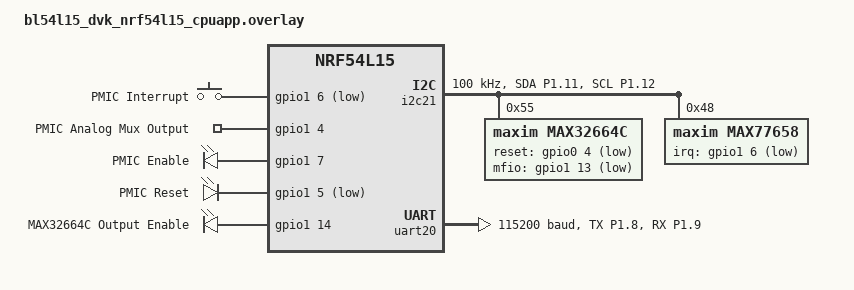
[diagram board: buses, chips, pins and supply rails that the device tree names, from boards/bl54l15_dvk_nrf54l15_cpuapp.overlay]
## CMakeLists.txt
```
# SPDX-License-Identifier: Apache-2.0

cmake_minimum_required(VERSION 3.20.0)

find_package(Zephyr REQUIRED HINTS $ENV{ZEPHYR_BASE})
project(pmic_2512_nrf54)

# Application sources
target_sources(app PRIVATE 
    src/main.c
    src/pmic_gpio.c
    src/data_manager.c
    src/storage_manager.c
    src/ble_app.c
    lib/max77658_main.c
    lib/max32664c_main.c
    lib/comman/app_i2c_lock.c
    driver/pmic/max77658.c
    driver/pmic/bsp.c
    # MAX32664C driver sources
    driver/max32664c/max32664c.c
    driver/max32664c/max32664c_acc.c
    driver/max32664c/max32664c_bl.c
    driver/max32664c/max32664c_init.c
    driver/max32664c/max32664c_worker.c
)

# Conditionally add MAX32664C interrupt support
if(CONFIG_MAX32664C_USE_INTERRUPT)
    target_sources(app PRIVATE driver/max32664c/max32664c_interrupt.c)
endif()

# Conditionally add PMIC module sources
if(CONFIG_PMIC_MAX77658_PM)
    target_sources(app PRIVATE driver/pmic/max77658_pm.c)
endif()

if(CONFIG_PMIC_MAX77658_FG)
    target_sources(app PRIVATE driver/pmic/max77658_fg.c)
endif()

# Include directories
target_include_directories(app PRIVATE
    ${CMAKE_CURRENT_SOURCE_DIR}/driver/pmic
    ${CMAKE_CURRENT_SOURCE_DIR}/driver/max32664c
    ${CMAKE_CURRENT_SOURCE_DIR}/src
    ${CMAKE_CURRENT_SOURCE_DIR}/lib
    ${CMAKE_CURRENT_SOURCE_DIR}/lib/comman
)
```

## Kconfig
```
# SPDX-License-Identifier: Apache-2.0

mainmenu "PMIC_2512 Application"

# Include driver Kconfig files
rsource "driver/pmic/Kconfig"
rsource "driver/max32664c/Kconfig"

source "Kconfig.zephyr"
```

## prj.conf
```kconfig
# =============================================================================
# Zephyr Project Configuration for MAX77658 PMIC Driver
# Target: nRF5340 / nRF52840
# =============================================================================

# -----------------------------------------------------------------------------
# Clock Configuration
# -----------------------------------------------------------------------------
# Use internal 32.768 kHz RC oscillator (LFRC) instead of external crystal (LFXO)
# This frees P0.00 (XL1) and P0.01 (XL2) for GPIO use
CONFIG_CLOCK_CONTROL_NRF_K32SRC_RC=y
CONFIG_CLOCK_CONTROL_NRF_K32SRC_RC_CALIBRATION=y

# -----------------------------------------------------------------------------
# C++ Support (if needed for driver library)
# -----------------------------------------------------------------------------
CONFIG_CPP=y
CONFIG_STD_CPP17=y
CONFIG_REQUIRES_FULL_LIBCPP=y
CONFIG_NEWLIB_LIBC=y

# -----------------------------------------------------------------------------
# I2C Configuration
# -----------------------------------------------------------------------------
CONFIG_I2C=y

# -----------------------------------------------------------------------------
# SPI Configuration (for other peripherals like MAX30001G ECG/BioZ AFE)
# -----------------------------------------------------------------------------
CONFIG_SPI=y

# -----------------------------------------------------------------------------
# GPIO Configuration
# -----------------------------------------------------------------------------
CONFIG_GPIO=y

# -----------------------------------------------------------------------------
# Serial / UART Console Configuration
# -----------------------------------------------------------------------------
CONFIG_SERIAL=y
CONFIG_CONSOLE=y
CONFIG_UART_CONSOLE=y

# -----------------------------------------------------------------------------
# Logging Configuration
# -----------------------------------------------------------------------------
CONFIG_LOG=y
CONFIG_LOG_MODE_DEFERRED=y

# Enable Debug Logging for I2C Subsystem
CONFIG_I2C_LOG_LEVEL_DBG=y

CONFIG_CLOCK_CONTROL_LOG_LEVEL_WRN=y

# 2. Keep Sensor logs enabled so you can see the data
CONFIG_SENSOR_LOG_LEVEL_INF=y

# 3. Reduce Kernel noise
CONFIG_LOG_DEFAULT_LEVEL=3
CONFIG_KERNEL_LOG_LEVEL_WRN=y

# Increase log buffer size to catch the flood of messages
CONFIG_LOG_BUFFER_SIZE=16384
CONFIG_LOG_PROCESS_THREAD_STACK_SIZE=4096

# -----------------------------------------------------------------------------
# Sensor Configuration
# -----------------------------------------------------------------------------
CONFIG_SENSOR=y
CONFIG_LOG_BACKEND_UART=y
CONFIG_PRINTK=y

# Enable floating point support for printf/LOG_INF
CONFIG_CBPRINTF_FP_SUPPORT=y

# -----------------------------------------------------------------------------
# PMIC MAX77658 Configuration
# -----------------------------------------------------------------------------
CONFIG_PMIC_MAX77658=y
CONFIG_PMIC_MAX77658_LOG_LEVEL=3
CONFIG_PMIC_MAX77658_PM=y
CONFIG_PMIC_MAX77658_FG=y

# Fuel Gauge Battery Configuration
CONFIG_PMIC_MAX77658_FG_DESIGN_CAP=350
CONFIG_PMIC_MAX77658_FG_RSENSE=10

# -----------------------------------------------------------------------------
# Memory Configuration
# -----------------------------------------------------------------------------
# Heap for dynamic allocation
CONFIG_HEAP_MEM_POOL_SIZE=16384

# Main stack size (increase if needed)
CONFIG_MAIN_STACK_SIZE=4096

# -----------------------------------------------------------------------------
# Debug Configuration (optional - disable for production)
# -----------------------------------------------------------------------------
# CONFIG_DEBUG=y
# CONFIG_DEBUG_OPTIMIZATIONS=y
# CONFIG_DEBUG_THREAD_INFO=y

CONFIG_MAX32664C_USE_EXTENDED_REPORTS=y

# ========================================
# Bluetooth Configuration (nRF54L15 Fixed)
# ========================================
CONFIG_BT=y
CONFIG_BT_PERIPHERAL=y
CONFIG_BT_DEVICE_NAME="Neso Monitor"
CONFIG_BT_MAX_CONN=1

# Use the Nordic SoftDevice Controller
CONFIG_BT_LL_SOFTDEVICE=y

# Increase L2CAP buffers (Host Layer) - This handles the large data packets
CONFIG_BT_BUF_ACL_RX_SIZE=251
CONFIG_BT_BUF_ACL_TX_SIZE=251
CONFIG_BT_L2CAP_TX_MTU=247

# Data Length Update (DLE) support is usually auto-enabled by SoftDevice
CONFIG_BT_DATA_LEN_UPDATE=y

# Disable features not needed right now to reduce complexity
CONFIG_BT_GATT_CLIENT=n
CONFIG_BT_SMP=n

# -----------------------------------------------------------------------------
# Non-Volatile Storage (NVS) Configuration
# -----------------------------------------------------------------------------
# Enable Flash and NVS for persistent data storage
CONFIG_FLASH=y
CONFIG_FLASH_PAGE_LAYOUT=y
CONFIG_NVS=y

# Settings subsystem for key-value storage
CONFIG_SETTINGS=y

# Allow writing to flash while running
CONFIG_MPU_ALLOW_FLASH_WRITE=y
```

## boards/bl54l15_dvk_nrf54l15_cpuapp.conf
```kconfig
# BL54L15 DVK Board Configuration

# Enable GPIO for PMIC control pins
CONFIG_GPIO=y
```

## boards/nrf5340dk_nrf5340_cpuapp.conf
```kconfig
# Enable GPIO for PMIC control pins
CONFIG_GPIO=y
```

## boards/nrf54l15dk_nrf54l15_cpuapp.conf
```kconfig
# nRF54L15DK Board Configuration

# Enable GPIO for PMIC control pins
CONFIG_GPIO=y
```

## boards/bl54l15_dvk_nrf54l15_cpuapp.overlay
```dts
/*
 * BL54L15 DVK overlay for MAX77658 PMIC and MAX32664C Sensor Hub
 *
 * Hardware Wiring:
 *   SDA: P1.11
 *   SCL: P1.12
 *
 * MAX32664C Sensor Hub Pins:
 *   HUB_MFIO: P1.13
 *   HUB_RST:  P0.04
 *   OE:       P1.14
 *
 * PMIC GPIO Pins:
 *   PMIC_NEN:  P1.07
 *   PMIC_nIRQ: P1.06
 *   PMIC_nRST: P1.05
 *
 * UART Pins:
 *   TX: P1.08
 *   RX: P1.09
 */
&pinctrl {
    /* I2C21 pins */
    i2c21_default: i2c21_default {
        group1 {
            /* YOUR CUSTOM WIRING */
            psels = <NRF_PSEL(TWIM_SDA, 1, 11)>,  /* SDA = P1.11 */
                    <NRF_PSEL(TWIM_SCL, 1, 12)>;  /* SCL = P1.12 */
            bias-pull-up;
        };
    };

    i2c21_sleep: i2c21_sleep {
        group1 {
            psels = <NRF_PSEL(TWIM_SDA, 1, 11)>,
                    <NRF_PSEL(TWIM_SCL, 1, 12)>;
            low-power-enable;
        };
    };

    /* UART configured for external FTDI on P1.08/09 */
    uart20_default: uart20_default {
        group1 {
            psels = <NRF_PSEL(UART_TX, 1, 8)>;   /* P1.08 = TX */
        };
        group2 {
            psels = <NRF_PSEL(UART_RX, 1, 9)>;   /* P1.09 = RX */
            bias-pull-up;
        };
    };

    uart20_sleep: uart20_sleep {
        group1 {
            psels = <NRF_PSEL(UART_TX, 1, 8)>,   /* P1.08 = TX */
                    <NRF_PSEL(UART_RX, 1, 9)>;   /* P1.09 = RX */
            low-power-enable;
        };
    };
};

/* Configure I2C21 with custom pins (nRF54L15 uses i2c21) */
&i2c21 {
    status = "okay";
    pinctrl-0 = <&i2c21_default>;
    pinctrl-1 = <&i2c21_sleep>;
    pinctrl-names = "default", "sleep";
    clock-frequency = <I2C_BITRATE_STANDARD>;  /* 100kHz, can use I2C_BITRATE_FAST for 400kHz */

    /* MAX32664C Biometric Sensor Hub */
    max32664c: max32664c@55 {
        compatible = "maxim,max32664c";
        reg = <0x55>;
        
        /* GPIO Control */
        reset-gpios = <&gpio0 4 GPIO_ACTIVE_LOW>;
        mfio-gpios  = <&gpio1 13 (GPIO_ACTIVE_LOW | GPIO_OPEN_DRAIN | GPIO_PULL_UP)>;
        
        /* Configuration */
        spo2-calib = <1748 6062 10754>;
        hr-config = <4 1>;
        spo2-config = <4 1>;
        use-max86174;
        motion-time = <5000>;
        motion-threshold = <100>;
        min-integration-time = "58_7us";
        min-sampling-rate = "25sps_avg1";
        max-integration-time = "117_3us";
        max-sampling-rate = "400sps_avg16";
        report-period = <40>;
        led-current = <50 50 50 50>;
    };

    /* MAX77658 PMIC Node (Required for driver communication) */
    max77658: max77658@48 {
        compatible = "maxim,max77658"; 
        reg = <0x48>; 
        irq-gpios = <&gpio1 6 (GPIO_PULL_UP | GPIO_ACTIVE_LOW)>;
    };
};

/* Configure UART20 for debug console (115200 baud) */
&uart20 {
    status = "okay";
    current-speed = <115200>;
    pinctrl-0 = <&uart20_default>;
    pinctrl-1 = <&uart20_sleep>;
    pinctrl-names = "default", "sleep";
};

&nfct {
    status = "disabled";
};

/* GPIO definitions for Manual Control / Aliases */
/ {
    chosen {
        zephyr,code-partition = &slot0_partition;
    };

    /* PMIC GPIO definitions */
    pmic_gpios {
        compatible = "gpio-keys";
        
        pmic_nirq: pmic_nirq {
            gpios = <&gpio1 6 (GPIO_PULL_UP | GPIO_ACTIVE_LOW)>;
            label = "PMIC Interrupt";
        };
        
        pmic_amux: pmic_amux {
            gpios = <&gpio1 4 GPIO_ACTIVE_HIGH>;
            label = "PMIC Analog Mux Output";
        };
    };
    
    pmic_ctrl {
        compatible = "gpio-leds";
        
        pmic_nen: pmic_nen {
            gpios = <&gpio1 7 GPIO_ACTIVE_HIGH>;
            label = "PMIC Enable";
        };
        
        pmic_nrst: pmic_nrst {
            gpios = <&gpio1 5 GPIO_ACTIVE_LOW>;
            label = "PMIC Reset";
        };
        
        hub_oe: hub_oe {
            gpios = <&gpio1 14 GPIO_ACTIVE_HIGH>;
            label = "MAX32664C Output Enable";
        };
    };
    
    aliases {
        /* PMIC aliases */
        pmic-nen = &pmic_nen;
        pmic-irq = &pmic_nirq;
        pmic-rst = &pmic_nrst;
        pmic-amux = &pmic_amux;
        
        /* MAX32664C aliases */
        hub-oe = &hub_oe;
    };
};

/* Flash Partitions for Data Storage (nRF54L15 RRAM) */
&cpuapp_rram {
    /* CRITICAL: Delete the default board partitions to avoid conflicts */
    /delete-node/ partitions;

    partitions {
        compatible = "fixed-partitions";
        #address-cells = <1>;
        #size-cells = <1>;

        /* Bootloader partition (64KB) */
        boot_partition: partition@0 {
            label = "mcuboot";
            reg = <0x00000000 0x00010000>;
        };

        /* Application slot 0 (448KB) */
        slot0_partition: partition@10000 {
            label = "image-0";
            reg = <0x00010000 0x00070000>;
        };

        /* Application slot 1 (448KB) */
        slot1_partition: partition@80000 {
            label = "image-1";
            reg = <0x00080000 0x00070000>;
        };

        /* Storage partition for persistent data (32KB) */
        storage_partition: partition@F0000 {
            label = "storage";
            reg = <0x000F0000 0x00008000>;
        };

        /* Scratch partition for MCUboot swap (32KB) */
        scratch_partition: partition@F8000 {
            label = "image-scratch";
            reg = <0x000F8000 0x00008000>;
        };
    };
};
```

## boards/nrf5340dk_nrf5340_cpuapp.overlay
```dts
/*
 * nRF5340DK overlay for MAX77658 PMIC
 *
 * I2C Pins:
 *   SDA: P1.11
 *   SCL: P1.12
 *
 * GPIO Pins:
 *   PMIC_nRST: P1.13 (Active Low Reset)
 *   PMIC_nIRQ: P0.30 (Active Low Interrupt)
 *
 * UART Pins (Debug Console):
 *   TX: P0.09 (Output)
 *   RX: P0.08 (Input)
 */

/* Custom pin control for I2C1 and UART0 */
&pinctrl {
    /* I2C1 pins */
    i2c1_default: i2c1_default {
        group1 {
            psels = <NRF_PSEL(TWIM_SDA, 1, 11)>,  /* P1.11 = SDA */
                    <NRF_PSEL(TWIM_SCL, 1, 12)>;  /* P1.12 = SCL */
        };
    };

    i2c1_sleep: i2c1_sleep {
        group1 {
            psels = <NRF_PSEL(TWIM_SDA, 1, 11)>,  /* P1.11 = SDA */
                    <NRF_PSEL(TWIM_SCL, 1, 12)>;  /* P1.12 = SCL */
            low-power-enable;
        };
    };

    /* UART0 pins for debug console */
    uart0_default: uart0_default {
        group1 {
            psels = <NRF_PSEL(UART_TX, 0, 9)>;   /* P0.09 = TX */
        };
        group2 {
            psels = <NRF_PSEL(UART_RX, 0, 8)>;   /* P0.08 = RX */
            bias-pull-up;
        };
    };

    uart0_sleep: uart0_sleep {
        group1 {
            psels = <NRF_PSEL(UART_TX, 0, 9)>,   /* P0.09 = TX */
                    <NRF_PSEL(UART_RX, 0, 8)>;   /* P0.08 = RX */
            low-power-enable;
        };
    };
};

/* Configure I2C1 with custom pins */
&i2c1 {
    status = "okay";
    pinctrl-0 = <&i2c1_default>;
    pinctrl-1 = <&i2c1_sleep>;
    pinctrl-names = "default", "sleep";
    clock-frequency = <I2C_BITRATE_STANDARD>;  /* 100kHz, can use I2C_BITRATE_FAST for 400kHz */
};

/* Configure UART0 for debug console (115200 baud) */
&uart0 {
    status = "okay";
    current-speed = <115200>;
    pinctrl-0 = <&uart0_default>;
    pinctrl-1 = <&uart0_sleep>;
    pinctrl-names = "default", "sleep";
};

/* PMIC GPIO definitions (optional - for future use) */
/ {
    pmic_gpios {
        compatible = "gpio-keys";
        
        pmic_nirq: pmic_nirq {
            gpios = <&gpio0 30 (GPIO_PULL_UP | GPIO_ACTIVE_LOW)>;
            label = "PMIC Interrupt";
        };
    };
    
    pmic_ctrl {
        compatible = "gpio-leds";
        
        pmic_nrst: pmic_nrst {
            gpios = <&gpio1 13 GPIO_ACTIVE_LOW>;
            label = "PMIC Reset";
        };
    };
    
    aliases {
        pmic-irq = &pmic_nirq;
        pmic-rst = &pmic_nrst;
    };
};
```

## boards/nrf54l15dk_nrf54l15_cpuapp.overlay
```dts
/*
 * nRF54L15DK overlay for MAX77658 PMIC and MAX32664C Sensor Hub
 *
 * I2C Pins:
 *   SDA: P1.11
 *   SCL: P1.12
 *
 * MAX32664C Sensor Hub Pins:
 *   HUB_MFIO: P1.13 (Active Low, Open-Drain)
 *   HUB_RST:  P0.04 (Active Low Reset)
 *   OE:       P1.14 (Output Enable)
 *
 * PMIC GPIO Pins:
 *   PMIC_NEN:      P1.07 (Enable, Active High)
 *   PMIC_nIRQ:     P1.06 (Active Low Interrupt)
 *   PMIC_nRST:     P1.05 (Active Low Reset)
 *   PMIC_AMUX_OUT: P1.04 (Analog Mux Output)
 *
 * UART Pins (Debug Console):
 *   TX: P1.03 (Output)
 *   RX: P1.02 (Input)
 */

/* Custom pin control for I2C21 and UART20 */
&pinctrl {
    /* I2C21 pins */
    i2c21_default: i2c21_default {
        group1 {
            psels = <NRF_PSEL(TWIM_SDA, 1, 11)>,  /* P1.11 = SDA */
                    <NRF_PSEL(TWIM_SCL, 1, 12)>;  /* P1.12 = SCL */
        };
    };

    i2c21_sleep: i2c21_sleep {
        group1 {
            psels = <NRF_PSEL(TWIM_SDA, 1, 11)>,  /* P1.11 = SDA */
                    <NRF_PSEL(TWIM_SCL, 1, 12)>;  /* P1.12 = SCL */
            low-power-enable;
        };
    };

    /* UART20 pins for debug console */
    uart20_default: uart20_default {
        group1 {
            psels = <NRF_PSEL(UART_TX, 1, 3)>;   /* P1.03 = TX */
        };
        group2 {
            psels = <NRF_PSEL(UART_RX, 1, 2)>;   /* P1.02 = RX */
            bias-pull-up;
        };
    };

    uart20_sleep: uart20_sleep {
        group1 {
            psels = <NRF_PSEL(UART_TX, 1, 3)>,   /* P1.03 = TX */
                    <NRF_PSEL(UART_RX, 1, 2)>;   /* P1.02 = RX */
            low-power-enable;
        };
    };
};

/* Configure I2C21 with custom pins (nRF54L15 uses i2c21) */
&i2c21 {
    status = "okay";
    pinctrl-0 = <&i2c21_default>;
    pinctrl-1 = <&i2c21_sleep>;
    pinctrl-names = "default", "sleep";
    clock-frequency = <I2C_BITRATE_STANDARD>;  /* 100kHz, can use I2C_BITRATE_FAST for 400kHz */

    /* MAX32664C Biometric Sensor Hub */
    max32664c: max32664c@55 {
        compatible = "maxim,max32664c";
        reg = <0x55>;
        
        /* Reset pin - Active Low */
        reset-gpios = <&gpio0 4 GPIO_ACTIVE_LOW>;   /* P0.04 - HUB_RST */

        /* MFIO: Open-drain output with pull-up for interrupt/wake capability */
        mfio-gpios  = <&gpio1 13 (GPIO_ACTIVE_LOW | GPIO_OPEN_DRAIN | GPIO_PULL_UP)>;   /* P1.13 - HUB_MFIO */
        
        /* SpO2 calibration coefficients [A, B, C] for equation: SpO2 = A*R^2 + B*R + C */
        spo2-calib = <1748 6062 10754>;  /* Positive integer values */
        
        /* HR and SpO2 algorithm configuration [avg, sensitivity] */
        hr-config = <4 1>;    /* 4-beat average, sensitivity level 1 */
        spo2-config = <4 1>;  /* 4-sample average, sensitivity level 1 */
        
        /* AFE selection flags */
        use-max86174;
        
        /* Wake-on-motion parameters */
        motion-time = <5000>;      /* 5 seconds motion timeout in ms */
        motion-threshold = <100>;  /* 100 milli-g threshold */
        
        /* Integration time and sampling rate constraints (enum indices) */
        min-integration-time = "58_7us";      /* FW35 code 2: 58.7µs */
        min-sampling-rate = "25sps_avg1";    /* FW35 code 0: 25sps, avg=1 */
        max-integration-time = "117_3us";    /* FW35 code 3: 117.3µs */
        max-sampling-rate = "400sps_avg16";  /* FW35 code 4: 400sps, avg=16 */
        
        /* Reporting configuration */
        report-period = <40>;  /* Report every 40 samples (1.6s at 25Hz) */
        
        /* LED current settings [LED1, LED2, LED3, LED4] in mA */
        led-current = <50 50 50 50>;
        
        status = "okay";
    };
};

/* Configure UART20 for debug console (115200 baud) */
&uart20 {
    status = "okay";
    current-speed = <115200>;
    pinctrl-0 = <&uart20_default>;
    pinctrl-1 = <&uart20_sleep>;
    pinctrl-names = "default", "sleep";
};

/* GPIO definitions for MAX32664C and PMIC control */
/ {
    /* MAX32664C control pins */
    max32664c_gpios {
        compatible = "gpio-keys";
        
        hub_oe: hub_oe {
            gpios = <&gpio1 14 GPIO_ACTIVE_HIGH>;
            label = "MAX32664C Output Enable";
        };
    };
    
    /* PMIC GPIO definitions */
    pmic_gpios {
        compatible = "gpio-keys";
        
        pmic_nirq: pmic_nirq {
            gpios = <&gpio1 6 (GPIO_PULL_UP | GPIO_ACTIVE_LOW)>;
            label = "PMIC Interrupt";
        };
        
        pmic_amux: pmic_amux {
            gpios = <&gpio1 4 GPIO_ACTIVE_HIGH>;
            label = "PMIC Analog Mux Output";
        };
    };
    
    pmic_ctrl {
        compatible = "gpio-leds";
        
        pmic_nen: pmic_nen {
            gpios = <&gpio1 7 GPIO_ACTIVE_HIGH>;
            label = "PMIC Enable";
        };
        
        pmic_nrst: pmic_nrst {
            gpios = <&gpio1 5 GPIO_ACTIVE_LOW>;
            label = "PMIC Reset";
        };
    };
    
    aliases {
        /* MAX32664C aliases */
        hub-oe = &hub_oe;
        
        /* PMIC aliases */
        pmic-nen = &pmic_nen;
        pmic-irq = &pmic_nirq;
        pmic-rst = &pmic_nrst;
        pmic-amux = &pmic_amux;
    };
};
```

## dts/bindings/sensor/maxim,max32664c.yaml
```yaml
# dts/bindings/sensor/maxim,max32664c.yaml
description: Maxim MAX32664C Biometric Sensor Hub

compatible: "maxim,max32664c"

include: i2c-device.yaml

properties:
  reset-gpios:
    type: phandle-array
    required: true
    description: Reset pin (set polarity via GPIO_ACTIVE_LOW/HIGH)

  mfio-gpios:
    type: phandle-array
    required: true
    description: MFIO pin for Wake/Sleep

  spo2-calib:
    type: array
    required: true
    description: SpO2 calibration coefficients [A, B, C]

  hr-config:
    type: array
    required: true
    description: Heart Rate algo config [avg, sensitivity]

  spo2-config:
    type: array
    required: true
    description: SpO2 algo config [avg, sensitivity]

  use-max86141:
    type: boolean
    description: Set if using MAX86141 AFE

  use-max86161:
    type: boolean
    description: Set if using MAX86161 AFE

  use-max86174:
    type: boolean
    description: Set if using MAX86174 AFE

  motion-time:
    type: int
    required: false
    default: 5000
    description: Wake on motion time threshold in ms

  motion-threshold:
    type: int
    required: false
    default: 100
    description: Wake on motion threshold in mg

  min-integration-time:
    type: string
    required: false
    enum: ["14_8us", "29_4us", "58_7us", "117_3us"]  # FW35 codes 0-3

  min-sampling-rate:
    type: string
    required: false
    enum: ["25sps_avg1", "50sps_avg2", "100sps_avg4", "200sps_avg8", "400sps_avg16"]  # FW35 codes 0-4

  max-integration-time:
    type: string
    required: false
    enum: ["14_8us", "29_4us", "58_7us", "117_3us"]  # FW35 codes 0-3

  max-sampling-rate:
    type: string
    required: false
    enum: ["25sps_avg1", "50sps_avg2", "100sps_avg4", "200sps_avg8", "400sps_avg16"]  # FW35 codes 0-4

  report-period:
    type: int
    required: false
    default: 1
    description: Number of samples per report

  led-current:
    type: array
    required: true
    description: LED currents in mA. Provide 3 entries for MAX86141/MAX86161, or 4 entries for MAX86174 (LED1..LED4).
```

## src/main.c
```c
/*
 * main.c - Application Entry Point
 */

#include <zephyr/kernel.h>
#include <zephyr/logging/log.h>
#include <zephyr/device.h>
#include <zephyr/drivers/i2c.h>

/* Application Libraries */
#include "max77658_main.h"
#include "max32664c_main.h"
#include "app_i2c_lock.h"

/* BLE Store-and-Forward Thread */
void start_ble_thread(void);
K_THREAD_DEFINE(ble_thread_id, 4096, start_ble_thread, NULL, NULL, NULL, 7, 0, 0);

LOG_MODULE_REGISTER(main, CONFIG_LOG_DEFAULT_LEVEL);

/* I2C Device */
#define I2C_NODE DT_NODELABEL(i2c21)
static const struct device *i2c_dev = DEVICE_DT_GET(I2C_NODE);

/* I2C Scanner Function */
static void i2c_scan(void)
{
    uint8_t addr;
    uint8_t cnt = 0;

    LOG_INF("--- I2C Bus Scan ---");
    
    if (!device_is_ready(i2c_dev)) {
        LOG_ERR("I2C device not ready!");
        return;
    }

    k_mutex_lock(&i2c_lock, K_FOREVER);

    for (addr = 0x03; addr <= 0x77; addr++) {
        struct i2c_msg msgs[1];
        uint8_t dst;

        msgs[0].buf = &dst;
        msgs[0].len = 0;
        msgs[0].flags = I2C_MSG_WRITE | I2C_MSG_STOP;

        if (i2c_transfer(i2c_dev, &msgs[0], 1, addr) == 0) {
            LOG_INF("Device found at 0x%02X", addr);
            cnt++;
        }
    }

    k_mutex_unlock(&i2c_lock);
    
    LOG_INF("Found %d device(s) on I2C bus", cnt);
}

int main(void)
{
    int ret;
    
    LOG_INF("--- System Startup ---");

    /* 1. Initialize PMIC Hardware (Protected) */
    LOG_INF("Initializing PMIC...");
    k_mutex_lock(&i2c_lock, K_FOREVER);
    ret = max77658_app_init();
    k_mutex_unlock(&i2c_lock);
    
    if (ret != 0) {
        LOG_ERR("MAX77658 Init Failed! Halting.");
        while (1) { k_msleep(1000); }
    }

    /* 2. Start Application Threads */
    /* The internal driver init for max32664c is handled by the sensor thread */
    LOG_INF("Starting Application Threads...");
    max77658_app_start();    /* Starts PMIC thread (Priority 7, 2000ms polling) */
    max32664c_app_start();   /* Starts Sensor thread (Priority 5, 40ms polling) */

    /* 3. Main thread runs I2C scanner in loop */
    LOG_INF("Main thread starting I2C scanner loop.");
    while (1) {
        k_sleep(K_SECONDS(5));

        if (max77658_shutdown_requested()) {
            LOG_WRN("Shutdown requested; skipping I2C scan.");
            continue;
        }

        i2c_scan();
    }

    return 0;
}
```

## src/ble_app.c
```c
#include <zephyr/types.h>
#include <stddef.h>
#include <string.h>
#include <errno.h>
#include <zephyr/sys/printk.h>
#include <zephyr/sys/byteorder.h>
#include <zephyr/kernel.h>
#include <zephyr/logging/log.h>
#include <zephyr/bluetooth/bluetooth.h>
#include <zephyr/bluetooth/hci.h>
#include <zephyr/bluetooth/conn.h>
#include <zephyr/bluetooth/uuid.h>
#include <zephyr/bluetooth/gatt.h>

#include "data_manager.h"
#include "storage_manager.h"

LOG_MODULE_REGISTER(ble_app, LOG_LEVEL_INF);

/* 1. Define Service and Characteristic UUIDs */
static struct bt_uuid_128 hope_svc_uuid = BT_UUID_INIT_128(
    BT_UUID_128_ENCODE(0x12345678, 0x1234, 0x5678, 0x1234, 0x56789abcdef0));

static struct bt_uuid_128 hope_data_uuid = BT_UUID_INIT_128(
    BT_UUID_128_ENCODE(0x12345678, 0x1234, 0x5678, 0x1234, 0x56789abcdef1));

static struct bt_uuid_128 char_profile_uuid = BT_UUID_INIT_128(
    BT_UUID_128_ENCODE(0x12345678, 0x1234, 0x5678, 0x1234, 0x56789abcdef5));

static struct bt_uuid_128 char_config_uuid = BT_UUID_INIT_128(
    BT_UUID_128_ENCODE(0x12345678, 0x1234, 0x5678, 0x1234, 0x56789abcdef6));

static struct bt_uuid_128 char_info_uuid = BT_UUID_INIT_128(
    BT_UUID_128_ENCODE(0x12345678, 0x1234, 0x5678, 0x1234, 0x56789abcdef7));

/* Characteristic #5: User Profile (5 Bytes) */
typedef struct __attribute__((packed)) {
    uint8_t age;          /* Years */
    uint8_t height_cm;    /* cm (0-255) */
    uint16_t weight_dg;   /* Weight in decigrams (kg * 10) e.g., 75.5kg -> 755 */
    uint8_t gender;       /* 0=Male, 1=Female, 2=Other */
} user_profile_t;

/* Characteristic #6: Device Config (4 Bytes) */
typedef struct __attribute__((packed)) {
    uint8_t op_mode;      /* 0=Continuous, 1=Periodic */
    uint16_t interval_s;  /* Sampling interval in seconds (30, 60, 300...) */
    uint8_t led_current;  /* LED brightness (0-255) */
} device_config_t;

/* Default Values */
static user_profile_t current_profile = { 0, 0, 0, 0 };
static device_config_t current_config = { 0, 0, 50 }; /* Continuous, 0s, 50mA */

static bool notify_enabled = false;

/* 2. Notification Enabled Callback */
static void ccc_cfg_changed(const struct bt_gatt_attr *attr, uint16_t value)
{
    notify_enabled = (value == BT_GATT_CCC_NOTIFY);
    LOG_INF("BLE Notifications: %s", notify_enabled ? "ON" : "OFF");
}

/* --- Callback for User Profile (Char #5) --- */
static ssize_t read_profile(struct bt_conn *conn, const struct bt_gatt_attr *attr,
                            void *buf, uint16_t len, uint16_t offset)
{
    return bt_gatt_attr_read(conn, attr, buf, len, offset, &current_profile, sizeof(current_profile));
}

static ssize_t write_profile(struct bt_conn *conn, const struct bt_gatt_attr *attr,
                             const void *buf, uint16_t len, uint16_t offset, uint8_t flags)
{
    if (len != sizeof(user_profile_t)) { return BT_GATT_ERR(BT_ATT_ERR_INVALID_ATTRIBUTE_LEN); }
    
    memcpy(&current_profile, buf, len);
    LOG_INF("User Updated: Age=%d, Wt=%d", current_profile.age, current_profile.weight_dg);
    
    /* TODO: Save 'current_profile' to NVS/Flash here */
    return len;
}

/* --- Callback for Device Config (Char #6) --- */
static ssize_t read_config(struct bt_conn *conn, const struct bt_gatt_attr *attr,
                           void *buf, uint16_t len, uint16_t offset)
{
    return bt_gatt_attr_read(conn, attr, buf, len, offset, &current_config, sizeof(current_config));
}

static ssize_t write_config(struct bt_conn *conn, const struct bt_gatt_attr *attr,
                            const void *buf, uint16_t len, uint16_t offset, uint8_t flags)
{
    if (len != sizeof(device_config_t)) { return BT_GATT_ERR(BT_ATT_ERR_INVALID_ATTRIBUTE_LEN); }
    
    memcpy(&current_config, buf, len);
    LOG_INF("Config Updated: Mode=%d, Interval=%ds", current_config.op_mode, current_config.interval_s);
    
    /* Apply logic immediately */
    if (current_config.op_mode == 1) {
        LOG_INF("Switching to Periodic Mode (%d sec)", current_config.interval_s);
        /* Call a function in data_manager.c to set sampling rate */
    } else {
        LOG_INF("Switching to Continuous Mode");
    }

    /* TODO: Save 'current_config' to NVS/Flash here */
    return len;
}

/* 3. Define GATT Service */
BT_GATT_SERVICE_DEFINE(hope_svc,
    BT_GATT_PRIMARY_SERVICE(&hope_svc_uuid),
    
    /* 1. Vitals Data (Notify) */
    BT_GATT_CHARACTERISTIC(&hope_data_uuid.uuid, BT_GATT_CHRC_NOTIFY, BT_GATT_PERM_NONE, NULL, NULL, NULL),
    BT_GATT_CCC(ccc_cfg_changed, BT_GATT_PERM_READ | BT_GATT_PERM_WRITE),

    /* 5. User Profile (Read/Write) */
    BT_GATT_CHARACTERISTIC(&char_profile_uuid.uuid, 
                           BT_GATT_CHRC_READ | BT_GATT_CHRC_WRITE, 
                           BT_GATT_PERM_READ | BT_GATT_PERM_WRITE, 
                           read_profile, write_profile, NULL),

    /* 6. Device Config (Read/Write) */
    BT_GATT_CHARACTERISTIC(&char_config_uuid.uuid, 
                           BT_GATT_CHRC_READ | BT_GATT_CHRC_WRITE, 
                           BT_GATT_PERM_READ | BT_GATT_PERM_WRITE, 
                           read_config, write_config, NULL),
                           
    /* 7. Device Info (Read Only) */
    BT_GATT_CHARACTERISTIC(&char_info_uuid.uuid, 
                           BT_GATT_CHRC_READ | BT_GATT_CHRC_NOTIFY, 
                           BT_GATT_PERM_READ, 
                           NULL, NULL, NULL),
    BT_GATT_CCC(ccc_cfg_changed, BT_GATT_PERM_READ | BT_GATT_PERM_WRITE),
);

/* 4. Advertisement Data */
static const struct bt_data ad[] = {
    BT_DATA_BYTES(BT_DATA_FLAGS, (BT_LE_AD_GENERAL | BT_LE_AD_NO_BREDR)),
    BT_DATA(BT_DATA_NAME_COMPLETE, "Neso Monitor", 12),
};

static const struct bt_data sd[] = {
    BT_DATA_BYTES(BT_DATA_UUID128_ALL,
                  0xf0, 0xde, 0xbc, 0x9a, 0x78, 0x56, 0x34, 0x12,
                  0x78, 0x56, 0x34, 0x12, 0x78, 0x56, 0x34, 0x12),
};

static void bt_ready(int err)
{
    if (err) { LOG_ERR("BLE init failed (err %d)", err); return; }
    
    /* Pass 'sd' (Scan Response) as 4th and 5th arguments */
    err = bt_le_adv_start(BT_LE_ADV_CONN, ad, ARRAY_SIZE(ad), sd, ARRAY_SIZE(sd));
    
    if (err) {
        LOG_ERR("Advertising failed to start (err %d)", err);
        return;
    }
    LOG_INF("Advertising started as 'Neso Monitor'");
}

/* 5. Main BLE Worker Thread */
void start_ble_thread(void)
{
    /* Initialize Storage */
    if (storage_init() != 0) { LOG_ERR("Storage Init Failed!"); }

    /* Enable Bluetooth */
    bt_enable(bt_ready);

    patient_batch_t live_batch;
    patient_batch_t hist_batch;

    while (1) {
        /* Wait for new data (Blocking) */
        if (data_manager_get_ble_batch(&live_batch) == 0) {
            
            if (notify_enabled) {
                /* --- CONNECTED --- */
                
                /* A. Send Live Data Immediately */
                LOG_INF("BLE: Sending LIVE batch...");
                bt_gatt_notify(NULL, &hope_svc.attrs[1], &live_batch, sizeof(live_batch));
                
                /* B. Check for stored history and send ONE old batch to catch up */
                if (storage_has_data()) {
                    if (storage_get_next_batch(&hist_batch) == 0) {
                        k_sleep(K_MSEC(100)); // Slight delay to prevent congestion
                        LOG_INF("BLE: Forwarding HISTORY batch...");
                        bt_gatt_notify(NULL, &hope_svc.attrs[1], &hist_batch, sizeof(hist_batch));
                    }
                }
            } 
            else {
                /* --- DISCONNECTED --- */
                LOG_WRN("BLE Disconnected. Saving batch to NVM...");
                storage_save_batch(&live_batch);
            }
        }
    }
}
```

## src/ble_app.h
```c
#ifndef BLE_APP_H
#define BLE_APP_H

/* Start the BLE application thread */
void start_ble_thread(void);

#endif
```

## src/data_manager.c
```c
#include "data_manager.h"
#include <zephyr/logging/log.h>

LOG_MODULE_REGISTER(data_mgr, LOG_LEVEL_INF);

/* Two separate queues so slow Wi-Fi doesn't block fast BLE */
K_MSGQ_DEFINE(batch_q, sizeof(patient_batch_t), 4, 4);
K_MSGQ_DEFINE(ble_msgq, sizeof(patient_batch_t), 4, 4);

static patient_batch_t current_batch;

void data_manager_init(void)
{
    current_batch.count = 0;
}

void data_manager_push_sample(int hr, int spo2)
{
    if (current_batch.count < BATCH_SIZE) {
        current_batch.samples[current_batch.count].hr = hr;
        current_batch.samples[current_batch.count].spo2 = spo2;
        current_batch.samples[current_batch.count].timestamp = k_uptime_get_32();
        current_batch.count++;
    }

    if (current_batch.count >= BATCH_SIZE) {
        /* Push to Cloud Queue */
        k_msgq_put(&batch_q, &current_batch, K_NO_WAIT);
        
        /* Push to BLE Queue */
        k_msgq_put(&ble_msgq, &current_batch, K_NO_WAIT);

        current_batch.count = 0; 
        LOG_INF("Batch ready! Queued for Cloud & BLE.");
    }
}

int data_manager_get_batch(patient_batch_t *batch)
{
    return k_msgq_get(&batch_q, batch, K_FOREVER);
}

int data_manager_get_ble_batch(patient_batch_t *batch)
{
    return k_msgq_get(&ble_msgq, batch, K_FOREVER);
}
```

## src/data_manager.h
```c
#ifndef DATA_MANAGER_H
#define DATA_MANAGER_H

#include <zephyr/kernel.h>

#define BATCH_SIZE 10  /* 10 samples per batch */

/* Single measurement */
typedef struct {
    uint32_t timestamp;
    int hr;
    int spo2;
} sensor_sample_t;

/* A batch of 10 measurements */
typedef struct {
    sensor_sample_t samples[BATCH_SIZE];
    uint8_t count;
} patient_batch_t;

void data_manager_init(void);
void data_manager_push_sample(int hr, int spo2);

/* Fetch functions for different threads */
int data_manager_get_batch(patient_batch_t *batch);      /* For HTTP */
int data_manager_get_ble_batch(patient_batch_t *batch);  /* For BLE */

#endif
```

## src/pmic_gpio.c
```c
/*
 * pmic_gpio.c - MAX77658 PMIC GPIO Control Implementation
 *
 * SPDX-License-Identifier: Apache-2.0
 *
 * GPIO Pin Configuration (P1.xx):
 *   P1.07 - nEN:   Open-drain wake control (drive LOW or Hi-Z)
 *   P1.06 - nIRQ:  PMIC interrupt output (input with pull-up)
 *   P1.05 - nRST:  PMIC reset output (input, monitor only)
 *   P1.04 - AMUX:  Analog multiplexer output (input for ADC)
 */

#include "pmic_gpio.h"
#include <zephyr/drivers/gpio.h>
#include <zephyr/logging/log.h>

LOG_MODULE_REGISTER(pmic_gpio, CONFIG_LOG_DEFAULT_LEVEL);

#define PMIC_PORT_NODE   DT_NODELABEL(gpio1)

#define PIN_NEN   7  // P1.07
#define PIN_NIRQ  6  // P1.06
#define PIN_NRST  5  // P1.05
#define PIN_AMUX  4  // P1.04

static const struct device *gpio1;

static struct gpio_callback irq_cb;
static void (*user_irq_cb)(void *user_data);
static void *user_irq_ud;

/*
 * Internal GPIO interrupt handler
 */
static void irq_isr(const struct device *dev, struct gpio_callback *cb, uint32_t pins)
{
    ARG_UNUSED(dev);
    ARG_UNUSED(cb);
    ARG_UNUSED(pins);
    
    if (user_irq_cb) {
        user_irq_cb(user_irq_ud);
    }
}

int pmic_gpio_init(void)
{
    gpio1 = DEVICE_DT_GET(PMIC_PORT_NODE);
    if (!device_is_ready(gpio1)) {
        LOG_ERR("gpio1 not ready");
        return -ENODEV;
    }

    /* nEN: Start RELEASED as true Hi-Z (no internal pull-up) */
    gpio_pin_configure(gpio1, PIN_NEN, GPIO_INPUT);
    LOG_INF("  nEN: P1.%02d configured (Hi-Z, released, no-pull)", PIN_NEN);

    /* nRST: PMIC output -> Monitor as INPUT (external pull-up present) */
    gpio_pin_configure(gpio1, PIN_NRST, GPIO_INPUT);
    LOG_INF("  nRST: P1.%02d configured (input, monitor)", PIN_NRST);

    /* nIRQ: PMIC output open-drain -> INPUT + interrupt
     * Internal pull-up enabled for robustness (backup to external pull-up) */
    gpio_pin_configure(gpio1, PIN_NIRQ, GPIO_INPUT | GPIO_PULL_UP);
    gpio_pin_interrupt_configure(gpio1, PIN_NIRQ, GPIO_INT_EDGE_FALLING);
    
    gpio_init_callback(&irq_cb, irq_isr, BIT(PIN_NIRQ));
    gpio_add_callback(gpio1, &irq_cb);
    LOG_INF("  nIRQ: P1.%02d configured (input, interrupt enabled)", PIN_NIRQ);

    /* AMUX_OUT: Input for ADC reading */
    gpio_pin_configure(gpio1, PIN_AMUX, GPIO_INPUT);
    LOG_INF("  AMUX: P1.%02d configured (input, ADC)", PIN_AMUX);

    LOG_INF("PMIC GPIO initialization complete");
    return 0;
}

void pmic_irq_register_callback(void (*cb)(void *), void *user_data)
{
    user_irq_cb = cb;
    user_irq_ud = user_data;
    LOG_INF("PMIC IRQ callback registered");
}

void pmic_irq_enable(void)
{
    /* Already configured as edge falling; nothing else needed */
    LOG_DBG("PMIC IRQ enabled");
}

void pmic_irq_disable(void)
{
    gpio_pin_interrupt_configure(gpio1, PIN_NIRQ, GPIO_INT_DISABLE);
    LOG_DBG("PMIC IRQ disabled");
}

bool pmic_irq_is_active(void)
{
    int val = gpio_pin_get(gpio1, PIN_NIRQ);
    return (val == 0);  /* Active LOW */
}

/* ============================================================================
 * Open-Drain nEN Control (Wake PMIC from Ship Mode)
 * ============================================================================ */

static inline void pmic_nen_drive_low(void)
{
    gpio_pin_configure(gpio1, PIN_NEN, GPIO_OUTPUT_LOW);
}

void pmic_nen_release_hiz(void)
{
    /* True Hi-Z: input, no pull (external pull-up only if present) */
    gpio_pin_configure(gpio1, PIN_NEN, GPIO_INPUT);
}

void pmic_nen_pulse_ms(uint32_t ms)
{
    LOG_INF("nEN pulse: %u ms", ms);
    pmic_nen_drive_low();
    k_msleep(ms);
    pmic_nen_release_hiz();
}

/* ============================================================================
 * nRST Monitoring (PMIC drives this pin)
 * ============================================================================ */

bool pmic_is_nrst_high(void)
{
    int v = gpio_pin_get(gpio1, PIN_NRST);
    return (v > 0);
}

int pmic_wait_nrst_high(uint32_t timeout_ms)
{
    uint32_t t0 = k_uptime_get_32();
    while ((k_uptime_get_32() - t0) < timeout_ms) {
        if (pmic_is_nrst_high()) {
            LOG_INF("nRST went HIGH after %u ms", k_uptime_get_32() - t0);
            return 0;
        }
        k_msleep(2);
    }
    LOG_ERR("nRST timeout after %u ms", timeout_ms);
    return -ETIMEDOUT;
}

/* ============================================================================
 * Raw GPIO Pin Access
 * ============================================================================ */

int pmic_gpio_get_nen(void)
{
    if (!gpio1) return -ENODEV;
    return gpio_pin_get(gpio1, PIN_NEN);
}

int pmic_gpio_get_nrst(void)
{
    if (!gpio1) return -ENODEV;
    return gpio_pin_get(gpio1, PIN_NRST);
}

int pmic_gpio_get_nirq(void)
{
    if (!gpio1) return -ENODEV;
    return gpio_pin_get(gpio1, PIN_NIRQ);
}

/* ============================================================================
 * Legacy Functions (Deprecated - nRST is now PMIC output)
 * ============================================================================ */

void pmic_reset_assert(void)
{
    LOG_WRN("pmic_reset_assert: Deprecated - nRST is PMIC output, cannot drive");
}

void pmic_reset_deassert(void)
{
    LOG_WRN("pmic_reset_deassert: Deprecated - nRST is PMIC output, cannot drive");
}

void pmic_hardware_reset(uint32_t reset_time_ms, uint32_t startup_time_ms)
{
    LOG_WRN("pmic_hardware_reset: Deprecated - Use nEN pulse instead");
    LOG_INF("Performing nEN pulse wake sequence");
    
    /* Drive nEN low for reset duration */
    pmic_nen_pulse_ms(reset_time_ms);
    
    /* Wait for PMIC to start up and drive nRST high */
    LOG_INF("Waiting for nRST to go HIGH...");
    if (pmic_wait_nrst_high(startup_time_ms) == 0) {
        LOG_INF("PMIC wake complete");
    } else {
        LOG_ERR("PMIC failed to wake (nRST timeout)");
    }
}
```

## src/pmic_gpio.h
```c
/*
 * pmic_gpio.h - MAX77658 PMIC GPIO Control Interface
 *
 * SPDX-License-Identifier: Apache-2.0
 *
 * GPIO Pin Configuration (P1.xx):
 *   P1.07 - nEN:   Open-drain wake control (drive LOW or Hi-Z)
 *   P1.06 - nIRQ:  PMIC interrupt output (input with pull-up)
 *   P1.05 - nRST:  PMIC reset output (input, monitor only)
 *   P1.04 - AMUX:  Analog multiplexer output (input for ADC)
 */

#ifndef PMIC_GPIO_H
#define PMIC_GPIO_H

#include <zephyr/kernel.h>
#include <stdbool.h>

/**
 * @brief Initialize PMIC GPIO pins
 * 
 * Configures:
 *   - nEN:  Input (Hi-Z, released state)
 *   - nRST: Input with pull-up (PMIC drives this pin)
 *   - nIRQ: Input with pull-up and interrupt on falling edge
 *   - AMUX: Input for ADC reading
 * 
 * @return 0 on success, negative error code on failure
 */
int pmic_gpio_init(void);

/**
 * @brief Log current raw GPIO pin levels for debugging
 * 
 * Reads and logs the current state of nRST, nEN, and nIRQ pins.
 * Useful for diagnosing PMIC power state and GPIO configuration.
 */
void pmic_gpio_log_raw_levels(void);

/* ============================================================================
 * Interrupt Functions
 * ============================================================================ */

/**
 * @brief Register callback for PMIC interrupts
 * 
 * @param cb Function to call when interrupt occurs (NULL to disable)
 * @param user_data Context data passed to callback
 */
void pmic_irq_register_callback(void (*cb)(void *), void *user_data);

/**
 * @brief Enable PMIC interrupt
 */
void pmic_irq_enable(void);

/**
 * @brief Disable PMIC interrupt
 */
void pmic_irq_disable(void);

/**
 * @brief Check if PMIC interrupt is active
 * 
 * @return true if nIRQ is LOW (interrupt pending)
 * @return false if nIRQ is HIGH (no interrupt)
 */
bool pmic_irq_is_active(void);

/* ============================================================================
 * nEN Wake Control (Open-Drain)
 * ============================================================================ */

/**
 * @brief Send nEN pulse to wake PMIC from ship mode
 * 
 * Drives nEN LOW for specified duration, then releases to Hi-Z.
 * External pull-up resistor brings nEN back HIGH.
 * 
 * @param ms Pulse duration in milliseconds (typical: 10-100ms)
 */
void pmic_nen_pulse_ms(uint32_t ms);

/**
 * @brief Release nEN to Hi-Z state
 * 
 * Ensures nEN is in high-impedance (input) state.
 * External pull-up holds pin HIGH.
 * Use before entering ship mode to prevent accidental wake.
 */
void pmic_nen_release_hiz(void);

/* ============================================================================
 * nRST Monitoring (PMIC drives this pin)
 * ============================================================================ */

/**
 * @brief Check if nRST is HIGH
 * 
 * The PMIC drives nRST. When HIGH, PMIC has completed power-on.
 * 
 * @return true if nRST is HIGH (PMIC ready)
 * @return false if nRST is LOW (PMIC in reset/startup)
 */
bool pmic_is_nrst_high(void);

/**
 * @brief Wait for nRST to go HIGH (PMIC startup complete)
 * 
 * @param timeout_ms Maximum time to wait in milliseconds
 * @return 0 if nRST went HIGH, -ETIMEDOUT if timeout expired
 */
int pmic_wait_nrst_high(uint32_t timeout_ms);

/* ============================================================================
 * Raw GPIO Pin Access
 * ============================================================================ */

/**
 * @brief Get current nEN pin level
 * 
 * @return Pin level (0=LOW, 1=HIGH), -ENODEV if GPIO not initialized
 */
int pmic_gpio_get_nen(void);

/**
 * @brief Get current nRST pin level
 * 
 * @return Pin level (0=LOW, 1=HIGH), -ENODEV if GPIO not initialized
 */
int pmic_gpio_get_nrst(void);

/**
 * @brief Get current nIRQ pin level
 * 
 * @return Pin level (0=LOW, 1=HIGH), -ENODEV if GPIO not initialized
 */
int pmic_gpio_get_nirq(void);

/* ============================================================================
 * Legacy Functions (Deprecated)
 * ============================================================================ */

/**
 * @brief DEPRECATED - nRST is now PMIC output, cannot be driven
 * 
 * This function is kept for backward compatibility but does nothing.
 * Use pmic_nen_pulse_ms() instead to wake PMIC.
 */
void pmic_reset_assert(void);

/**
 * @brief DEPRECATED - nRST is now PMIC output, cannot be driven
 * 
 * This function is kept for backward compatibility but does nothing.
 */
void pmic_reset_deassert(void);

/**
 * @brief DEPRECATED - Use nEN pulse instead
 * 
 * Performs wake sequence using nEN pulse and waits for nRST.
 * 
 * @param reset_time_ms Duration to hold nEN LOW (recommended: 10ms)
 * @param startup_time_ms Maximum time to wait for nRST HIGH (recommended: 50-100ms)
 */
void pmic_hardware_reset(uint32_t reset_time_ms, uint32_t startup_time_ms);

#endif /* PMIC_GPIO_H */
```

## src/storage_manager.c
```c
#include <zephyr/kernel.h>
#include <zephyr/device.h>
#include <zephyr/drivers/flash.h>
#include <zephyr/fs/nvs.h>
#include <zephyr/logging/log.h>
#include <zephyr/storage/flash_map.h>

#include "storage_manager.h"

LOG_MODULE_REGISTER(storage_mgr, LOG_LEVEL_INF);

static struct nvs_fs fs;

/* * We use the label 'storage' defined in the overlay.
 */
#define STORAGE_NODE DT_NODE_BY_FIXED_PARTITION_LABEL(storage)

#define MAX_STORED_BATCHES 200 
#define KEY_WRITE_IDX 1
#define KEY_READ_IDX  2
#define KEY_DATA_BASE 100 

static uint16_t write_idx = 0;
static uint16_t read_idx = 0;

int storage_init(void)
{
    int rc;
    struct flash_pages_info info;

    /* * FIX: We explicitly grab the system flash controller.
     * The macro FIXED_PARTITION_DEVICE() fails on nRF54L15 because 
     * the RRAM controller hierarchy confuses the build system.
     */
    fs.flash_device = DEVICE_DT_GET(DT_CHOSEN(zephyr_flash_controller));
    
    if (!device_is_ready(fs.flash_device)) {
        LOG_ERR("Flash device not ready");
        return -1;
    }

    /* * FIX: We get the address offset manually.
     * This bypasses the broken parent-lookup macros.
     */
    fs.offset = DT_REG_ADDR(STORAGE_NODE);
    
    /* Get sector info to align writes correctly */
    rc = flash_get_page_info_by_offs(fs.flash_device, fs.offset, &info);
    if (rc) {
        LOG_ERR("Unable to get page info");
        return rc;
    }

    fs.sector_size = info.size;
    fs.sector_count = 4; /* Use 4 sectors for NVS management */

    rc = nvs_mount(&fs);
    if (rc) {
        LOG_ERR("NVS Mount failed: %d", rc);
        return rc;
    }

    /* Restore Indices (Persistence Check) */
    if (nvs_read(&fs, KEY_WRITE_IDX, &write_idx, sizeof(write_idx)) <= 0) write_idx = 0;
    if (nvs_read(&fs, KEY_READ_IDX, &read_idx, sizeof(read_idx)) <= 0) read_idx = 0;

    LOG_INF("Storage Init. Pending Batches: %d", 
        (write_idx >= read_idx) ? (write_idx - read_idx) : (MAX_STORED_BATCHES - read_idx + write_idx));
    
    return 0;
}

int storage_save_batch(const patient_batch_t *batch)
{
    int rc;
    uint16_t next_write_idx = (write_idx + 1) % MAX_STORED_BATCHES;

    /* Handle Ring Buffer Overflow */
    if (next_write_idx == read_idx) {
        LOG_WRN("Storage Full! Overwriting oldest data.");
        read_idx = (read_idx + 1) % MAX_STORED_BATCHES;
        nvs_write(&fs, KEY_READ_IDX, &read_idx, sizeof(read_idx));
    }

    /* Save Data */
    rc = nvs_write(&fs, KEY_DATA_BASE + write_idx, batch, sizeof(patient_batch_t));
    if (rc < 0) {
        LOG_ERR("Flash Write Failed: %d", rc);
        return rc;
    }

    /* Update Pointer */
    write_idx = next_write_idx;
    nvs_write(&fs, KEY_WRITE_IDX, &write_idx, sizeof(write_idx));
    
    LOG_INF("Saved batch to NVM (Idx: %d)", write_idx);
    return 0;
}

int storage_get_next_batch(patient_batch_t *batch)
{
    if (read_idx == write_idx) return -1; /* Empty */

    /* Read Oldest */
    int rc = nvs_read(&fs, KEY_DATA_BASE + read_idx, batch, sizeof(patient_batch_t));
    if (rc <= 0) {
        LOG_ERR("Flash Read Failed (Idx: %d)", read_idx);
        /* Skip corrupt entry to prevent lockup */
        read_idx = (read_idx + 1) % MAX_STORED_BATCHES;
        nvs_write(&fs, KEY_READ_IDX, &read_idx, sizeof(read_idx));
        return -1;
    }

    /* Advance Pointer (Delete) */
    read_idx = (read_idx + 1) % MAX_STORED_BATCHES;
    nvs_write(&fs, KEY_READ_IDX, &read_idx, sizeof(read_idx));

    return 0;
}

bool storage_has_data(void)
{
    return (read_idx != write_idx);
}
```

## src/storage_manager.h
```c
#ifndef STORAGE_MANAGER_H
#define STORAGE_MANAGER_H

#include <zephyr/kernel.h>
#include "data_manager.h"

/* Initialize the NVS file system */
int storage_init(void);

/* Save a batch to flash (Circular Buffer) */
int storage_save_batch(const patient_batch_t *batch);

/* Retrieve (and delete) the oldest batch */
int storage_get_next_batch(patient_batch_t *batch);

/* Check if there is pending data */
bool storage_has_data(void);

#endif
```
